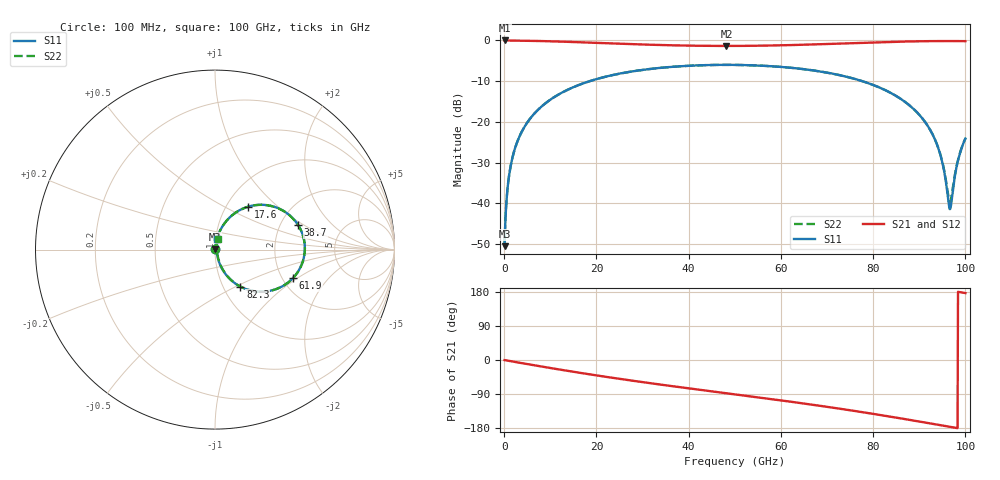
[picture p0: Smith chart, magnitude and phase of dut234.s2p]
! Touchstone file exported from HFSS 2026.1.0
!  File:  C:/ffzhzh/LocalFiles/Ansys_Project_Files/temp_train_RDL_234_1783501235_9504.aedt
!  Generated:  05:01:52 PM Jul  8, 2026
!  Design:  RDL
!  Project:  temp_train_RDL_234_1783501235_9504
! Variables:
!  h_bsmrdl = 2um
!  h_ox = 20um
!  h_rdl = 5um
!  h_sub = 80um
!  h_tmrdl = 4.8um
!  h_tsv = 80um
!  h_via = 3um
!  l_bsmrdl = 300um
!  l_sub = 1011.28um
!  l_tmrdl = 611.28um
!  m_sub = 200um
!  pitch = 51.65um
!  r_tsv = 6um
!  s_tmrdl = 10um
!  w_bsmrdl = 18um
!  w_sub = 500um
!  w_tmrdl = 25.57um
!  x_tsv_center1 = 624.065um
!  x_tsv_center2 = 942.065um
!  x_tsv_center3 = 1578.915um
!  x_tsv_center4 = 1896.915um
!  x_tsv_center5 = 2533.765um
!  x_tsv_center6 = 2851.765um
# GHz S MA R 50.000000
! Terminal data exported
! Port[1] = TM_RDL1_1_T1
! Port[2] = TM_RDL1_1_T2
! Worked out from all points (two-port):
!   1000 points, 100 MHz to 100 GHz, reference 50 ohm
!   highest |S21| = -0.02 dB at 100 MHz (marker M1); lowest = -1.4 dB at 48.2 GHz (marker M2)
!   |S21| within 3 dB of the highest: start of sweep to end of sweep
!   lowest |S11| = -50.5 dB at 100 MHz (marker M3), VSWR 1.01, Z = 50.2 + j0.224 ohm
!   |S11| at or under -10 dB: start of sweep to 18.57 GHz; 77.62 GHz to end of sweep
!   |S22| runs from -50.5 to -6.0 dB; largest |S21 - S12| = 1.8e-14
!   S11 on the Smith chart (normalised r, x): 100 MHz: 1.00, +0.00; 17.6 GHz: 1.26, +0.67; 38.7 GHz: 2.50, +0.89; 61.9 GHz: 2.28, -0.92; 82.3 GHz: 1.20, -0.53; 100 GHz: 1.02, +0.12
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0.1  0.002979 48.5  0.998 -0.2  0.998 -0.2  0.002979 48.5
! Gamma 0 0 0 0
! Port Impedance 50 0 50 0
0.8  0.01654 79.5  0.9974 -1.8  0.9974 -1.8  0.01654 79.5
1.4  0.02848 81.3  0.9968 -3.1  0.9968 -3.1  0.02848 81.3
3.9  0.07725 78.3  0.9926 -8.4  0.9926 -8.4  0.07725 78.3
8.9  0.1681 68.7  0.9786 -18.9  0.9786 -18.9  0.1681 68.7
16.8  0.2922 53.7  0.9471 -34.6  0.9471 -34.6  0.2922 53.6
17.6  0.3032 52.2  0.9435 -36.1  0.9435 -36.1  0.3033 52.2
33.4  0.4573 24.8  0.8788 -64.1  0.8788 -64.1  0.4573 24.7
38.7  0.4832 16.3  0.865 -72.7  0.865 -72.7  0.4832 16.3
48.2  0.5008 1.5  0.8549 -87.7  0.8549 -87.7  0.5009 1.5
50.1  0.5001 -1.4  0.8554 -90.7  0.8554 -90.7  0.5001 -1.5
61.9  0.4626 -20.0  0.8752 -109.7  0.8752 -109.7  0.4626 -20.1
66.7  0.4303 -27.9  0.8907 -117.8  0.8907 -117.8  0.4303 -28.0
82.3  0.2501 -55.6  0.953 -146.6  0.953 -146.6  0.2501 -55.5
83.4  0.2331 -57.6  0.957 -148.8  0.957 -148.8  0.2332 -57.5
88.8  0.1433 -67.2  0.9728 -159.9  0.9728 -159.9  0.1434 -66.8
92.5  0.07714 -72.0  0.9792 -167.6  0.9792 -167.6  0.07734 -70.8
94.7  0.03712 -69.7  0.981 -172.2  0.981 -172.2  0.03759 -67.0
96.6  0.0085 -3.0  0.9812 -176.2  0.9812 -176.2  0.0105 -1.9
97  0.01066 39.9  0.9811 -177.1  0.9811 -177.1  0.01234 34.0
98.5  0.03528 75.3  0.9803 179.7  0.9803 179.7  0.03586 71.9
100  0.06235 78.3  0.9787 176.6  0.9787 176.6  0.0627 76.1
